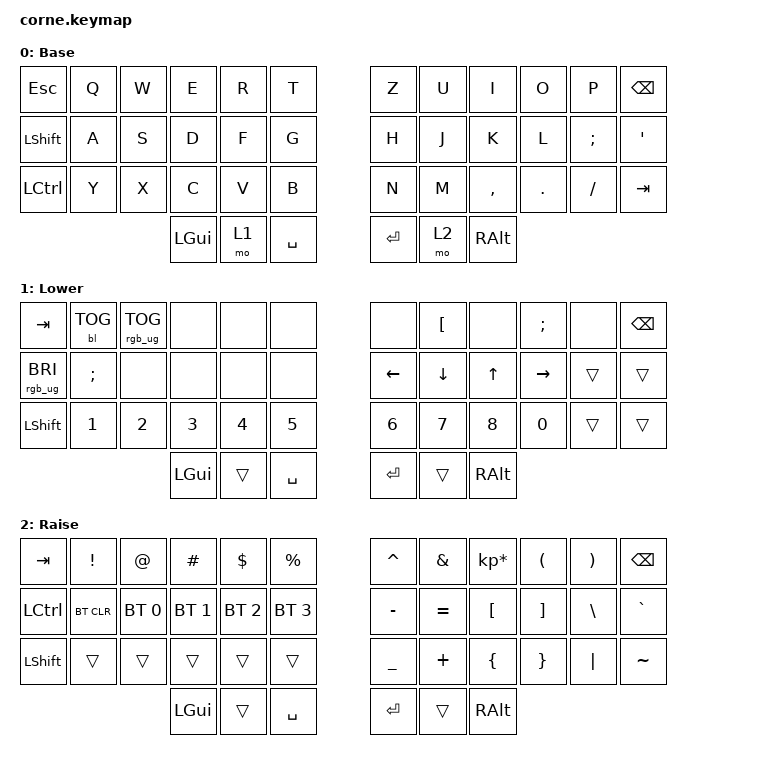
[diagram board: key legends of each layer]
/*
 * Copyright (c) 2020 The ZMK Contributors
 *
 * SPDX-License-Identifier: MIT
 */

#include <behaviors.dtsi>
#include <dt-bindings/zmk/backlight.h>
#include <dt-bindings/zmk/bt.h>
#include <dt-bindings/zmk/keys.h>
#include <dt-bindings/zmk/rgb.h>

/ {
    keymap {
        compatible = "zmk,keymap";

        default_layer {
            // -----------------------------------------------------------------------------------------
            // |  TAB |  Q  |  W  |  E  |  R  |  T  |   |  Y  |  U   |  I  |  O  |  P  | BKSP |
            // | CTRL |  A  |  S  |  D  |  F  |  G  |   |  H  |  J   |  K  |  L  |  ;  |  '   |
            // | SHFT |  Z  |  X  |  C  |  V  |  B  |   |  N  |  M   |  ,  |  .  |  /  | ESC  |
            //                    | GUI | LWR | SPC |   | ENT | RSE  | ALT |

            display-name = "Base";
            bindings = <
&kp ESC           &kp Q  &kp W  &kp E     &kp R  &kp T        &kp Z    &kp U  &kp I      &kp O    &kp P     &kp BSPC
&kp LEFT_SHIFT    &kp A  &kp S  &kp D     &kp F  &kp G        &kp H    &kp J  &kp K      &kp L    &kp SEMI  &kp SQT
&kp LEFT_CONTROL  &kp Y  &kp X  &kp C     &kp V  &kp B        &kp N    &kp M  &kp COMMA  &kp DOT  &kp FSLH  &kp TAB
                                &kp LGUI  &mo 1  &kp SPACE    &kp RET  &mo 2  &kp RALT
            >;
        };

        lower_layer {
            // -----------------------------------------------------------------------------------------
            // |  TAB |  1  |  2  |  3  |  4  |  5  |   |  6  |  7  |  8  |  9  |  0  | BKSP |
            // | BTCLR| BT1 | BT2 | BT3 | BT4 | BT5 |   | LFT | DWN |  UP | RGT |     |      |
            // | SHFT |     |     |     |     |     |   |     |     |     |     |     |      |
            //                    | GUI |     | SPC |   | ENT |     | ALT |

            display-name = "Lower";
            bindings = <
&kp TAB          &bl BL_TOG     &rgb_ug RGB_TOG  &none         &none         &none           &none         &kp LEFT_BRACKET  &none         &kp SEMICOLON  &none   &kp BSPC
&rgb_ug RGB_BRI  &kp SEMICOLON  &none            &none         &none         &none           &kp LEFT      &kp DOWN          &kp UP        &kp RIGHT      &trans  &trans
&kp LSHFT        &kp NUMBER_1   &kp NUMBER_2     &kp NUMBER_3  &kp NUMBER_4  &kp NUMBER_5    &kp NUMBER_6  &kp NUMBER_7      &kp NUMBER_8  &kp NUMBER_0   &trans  &trans
                                                 &kp LGUI      &trans        &kp SPACE       &kp RET       &trans            &kp RALT
            >;
        };

        raise_layer {
            // -----------------------------------------------------------------------------------------
            // |  TAB |  !  |  @  |  #  |  $  |  %  |   |  ^  |  &  |  *  |  (  |  )  | BKSP |
            // | CTRL |     |     |     |     |     |   |  -  |  =  |  [  |  ]  |  \  |  `   |
            // | SHFT |     |     |     |     |     |   |  _  |  +  |  {  |  }  | "|" |  ~   |
            //                    | GUI |     | SPC |   | ENT |     | ALT |

            display-name = "Raise";
            bindings = <
&kp TAB    &kp EXCL    &kp AT        &kp HASH      &kp DLLR      &kp PRCNT       &kp CARET  &kp AMPS   &kp KP_MULTIPLY  &kp LPAR  &kp RPAR  &kp BSPC
&kp LCTRL  &bt BT_CLR  &bt BT_SEL 0  &bt BT_SEL 1  &bt BT_SEL 2  &bt BT_SEL 3    &kp MINUS  &kp EQUAL  &kp LBKT         &kp RBKT  &kp BSLH  &kp GRAVE
&kp LSHFT  &trans      &trans        &trans        &trans        &trans          &kp UNDER  &kp PLUS   &kp LBRC         &kp RBRC  &kp PIPE  &kp TILDE
                                     &kp LGUI      &trans        &kp SPACE       &kp RET    &trans     &kp RALT
            >;
        };

        extra_1 { status = "reserved"; };

        extra_2 { status = "reserved"; };

        extra_3 { status = "reserved"; };
    };
};
